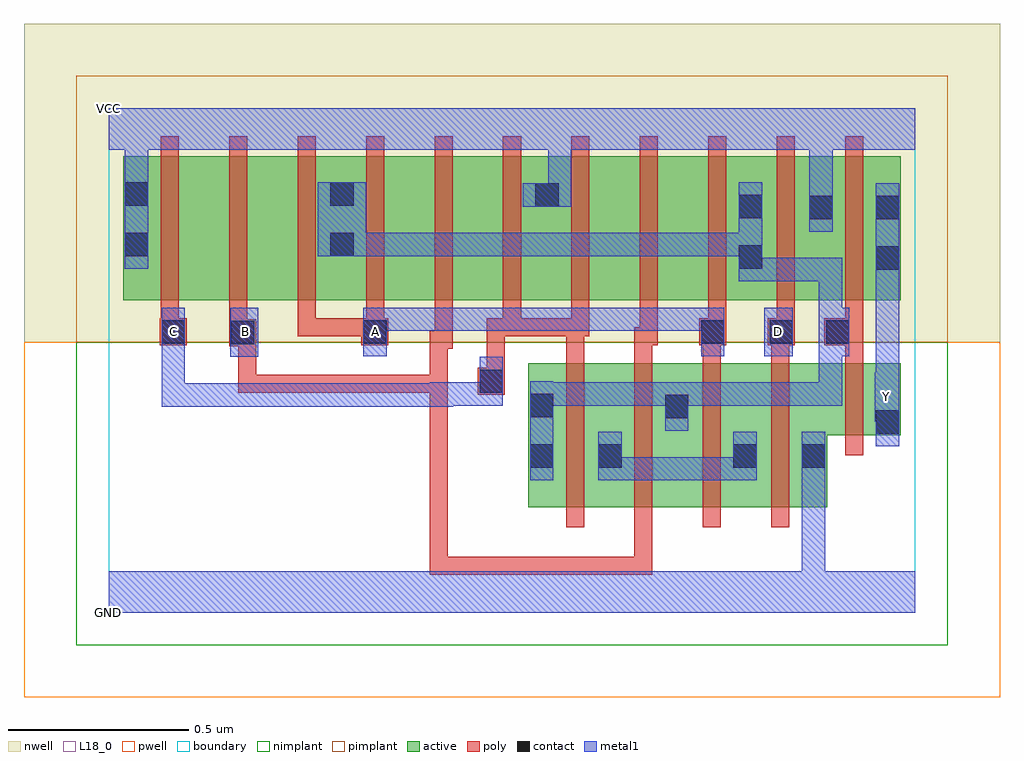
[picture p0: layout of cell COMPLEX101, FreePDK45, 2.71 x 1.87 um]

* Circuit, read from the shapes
.subckt COMPLEX101 A B C D GND VCC Y
M1 n1 C n2 VSUBS nfet w=0.4u l=0.05u
M2 n2 B n1 VSUBS nfet w=0.4u l=0.05u
M3 n1 A n2 VSUBS nfet w=0.4u l=0.05u
M4 GND D n1 VSUBS nfet w=0.4u l=0.05u
M5 Y n2 GND VSUBS nfet w=0.2u l=0.05u
M6 n3 C VCC n4 pfet w=0.4u l=0.05u
M7 n5 B n3 n4 pfet w=0.4u l=0.05u
M8 n2 A n5 n4 pfet w=0.4u l=0.05u
M9 n6 A n2 n4 pfet w=0.4u l=0.05u
M10 n7 B n6 n4 pfet w=0.4u l=0.05u
M11 VCC C n7 n4 pfet w=0.4u l=0.05u
M12 n8 C VCC n4 pfet w=0.4u l=0.05u
M13 n9 B n8 n4 pfet w=0.4u l=0.05u
M14 n2 A n9 n4 pfet w=0.4u l=0.05u
M15 VCC D n2 n4 pfet w=0.4u l=0.05u
M16 Y n2 VCC n4 pfet w=0.4u l=0.05u
.ends

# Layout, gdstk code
import gdstk
lib = gdstk.Library(unit=1e-6, precision=1e-09)
def R(c, l, rs):  # rectangles x0, y0, x1, y1
    for r in rs: c.add(gdstk.rectangle(r[:2], r[2:], *l))
def A(c, l, x, y, w, h, nx, ny, dx, dy):  # array of equal rectangles
    R(c, l, [(x+i*dx, y+j*dy, x+i*dx+w, y+j*dy+h) for i in range(nx) for j in range(ny)])
active = (1, 0)
pwell = (2, 0)
nwell = (3, 0)
nimplant = (4, 0)
pimplant = (5, 0)
poly = (9, 0)
contact = (10, 0)
metal1 = (11, 0)
L18_0 = (18, 0)
boundary = (235, 0)

complex101 = lib.new_cell('COMPLEX101')
A(complex101, active, 0.04, 0.867, 0.225, 0.4, 3, 1, 0.57, 0)
A(complex101, active, 0.265, 0.867, 0.19, 0.4, 3, 1, 0.57, 0)
R(complex101, active, [(1.165,0.292,1.43,0.692), (1.355,0.292,1.615,0.692), (1.54,0.292,1.805,0.692), (1.73,0.292,1.995,0.692), (1.92,0.292,1.995,0.597), (1.165,0.295,1.24,0.692), (1.355,0.295,1.43,0.537), (1.54,0.295,1.615,0.692), (1.73,0.295,1.805,0.597), (1.92,0.492,2.2,0.692), (2.125,0.492,2.2,0.692), (0.04,0.867,0.115,1.267), (0.455,0.867,0.685,1.267), (0.61,0.867,0.685,1.2), (1.025,0.867,1.255,1.267), (1.18,0.867,1.255,1.267), (1.595,0.867,1.82,1.267), (1.745,0.867,1.82,1.2), (1.745,0.867,2.015,1.267), (1.94,0.867,2.2,1.267), (1.94,0.867,2.015,1.267), (2.125,0.867,2.2,1.2)])
R(complex101, pwell, [(-0.235,-0.235,2.475,0.75)])
R(complex101, nwell, [(-0.235,0.75,2.475,1.635)])
R(complex101, nimplant, [(-0.09,-0.09,2.33,0.75)])
R(complex101, pimplant, [(-0.09,0.75,2.33,1.49)])
A(complex101, poly, 1.27, 0.237, 0.05, 0.51, 4, 1, 0.19, 0)
A(complex101, poly, 1.46, 0.697, 0.05, 0.095, 3, 1, 0.19, 0)
A(complex101, poly, 1.665, 0.767, 0.05, 0.095, 3, 1, 0.19, 0)
A(complex101, poly, 0.145, 0.812, 0.05, 0.51, 11, 1, 0.19, 0)
R(complex101, poly, [(0.892,0.105,0.942,0.155), (0.892,0.105,1.087,0.155), (0.892,0.105,0.942,0.66), (1.037,0.105,1.087,0.155), (1.037,0.105,1.087,0.155), (1.037,0.105,1.087,0.155), (1.037,0.105,1.087,0.155), (1.037,0.105,1.087,0.155), (1.037,0.105,1.377,0.155), (1.327,0.105,1.377,0.155), (1.327,0.105,1.377,0.155), (1.327,0.105,1.377,0.155), (1.327,0.105,1.51,0.155), (1.46,0.105,1.51,0.287), (1.46,0.105,1.51,0.155), (1.46,0.105,1.51,0.155), (1.46,0.105,1.51,0.155), (2.045,0.437,2.095,0.747), (1.025,0.605,1.1,0.68), (0.36,0.61,0.41,0.66), (0.36,0.61,0.542,0.66), (0.36,0.61,0.41,0.79), (0.492,0.61,0.542,0.66), (0.492,0.61,0.542,0.66), (0.492,0.61,0.542,0.66), (0.492,0.61,0.675,0.66), (0.625,0.61,0.675,0.66), (0.625,0.61,0.807,0.66), (0.757,0.61,0.807,0.66), (0.757,0.61,0.807,0.66), (0.757,0.61,0.807,0.66), (0.757,0.61,0.942,0.66), (0.892,0.61,0.942,0.66), (0.892,0.61,0.942,0.66), (0.892,0.61,0.942,0.66), (0.892,0.61,0.942,0.782), (1.05,0.63,1.1,0.817), (1.27,0.697,1.32,0.817), (2.045,0.697,2.095,0.792), (0.892,0.732,0.942,0.782), (0.892,0.732,0.942,0.782), (0.892,0.732,0.955,0.782), (0.905,0.732,0.955,0.862), (0.335,0.74,0.41,0.815), (0.36,0.74,0.41,0.79), (0.36,0.74,0.41,0.79), (0.142,0.742,0.217,0.817), (0.702,0.742,0.777,0.817), (1.46,0.742,1.525,0.792), (1.475,0.742,1.525,0.862), (1.64,0.742,1.715,0.817), (1.83,0.742,1.905,0.817), (1.987,0.742,2.095,0.817), (0.335,0.765,0.385,0.862), (0.145,0.767,0.195,0.862), (0.525,0.767,0.575,0.862), (0.525,0.767,0.575,0.817), (0.525,0.767,0.675,0.817), (0.625,0.767,0.675,0.817), (0.625,0.767,0.752,0.817), (0.715,0.767,0.765,0.862), (1.05,0.767,1.115,0.817), (1.065,0.767,1.115,0.817), (1.065,0.767,1.145,0.817), (1.095,0.767,1.145,0.862), (1.095,0.767,1.32,0.817), (1.27,0.767,1.335,0.817), (1.27,0.767,1.32,0.817), (1.27,0.767,1.32,0.817), (1.285,0.767,1.335,0.862)])
R(complex101, contact, [(1.17,0.402,1.235,0.467), (1.36,0.402,1.425,0.467), (1.735,0.402,1.8,0.467), (1.925,0.402,1.99,0.467), (2.13,0.497,2.195,0.562), (1.545,0.54,1.61,0.605), (1.17,0.542,1.235,0.607), (1.03,0.61,1.095,0.675), (0.34,0.745,0.405,0.81), (0.147,0.747,0.212,0.812), (0.707,0.747,0.772,0.812), (1.645,0.747,1.71,0.812), (1.835,0.747,1.9,0.812), (1.992,0.747,2.057,0.812), (2.13,0.952,2.195,1.017), (1.75,0.955,1.815,1.02), (0.045,0.99,0.11,1.055), (0.615,0.99,0.68,1.055), (1.945,1.092,2.01,1.157), (2.13,1.092,2.195,1.157), (1.75,1.095,1.815,1.16), (1.185,1.127,1.25,1.192), (0.045,1.13,0.11,1.195), (0.615,1.13,0.68,1.195)])
R(complex101, metal1, [(0,0,2.24,0.115), (1.925,0.05,1.99,0.432), (1.17,0.367,1.235,0.642), (1.36,0.367,1.425,0.432), (1.36,0.367,1.425,0.432), (1.36,0.367,1.425,0.502), (1.36,0.367,1.662,0.432), (1.597,0.367,1.662,0.432), (1.597,0.367,1.662,0.432), (1.597,0.367,1.662,0.432), (1.597,0.367,1.8,0.432), (1.735,0.367,1.8,0.502), (1.925,0.367,1.99,0.432), (1.925,0.367,1.99,0.432), (1.925,0.367,1.99,0.502), (2.13,0.462,2.195,0.597), (1.545,0.505,1.61,0.64), (2.127,0.532,2.195,0.667), (2.13,0.532,2.195,0.597), (0.147,0.572,0.212,0.637), (0.147,0.572,0.35,0.637), (0.147,0.572,0.212,0.777), (0.285,0.572,0.35,0.637), (0.285,0.572,0.35,0.637), (0.285,0.572,0.35,0.637), (0.285,0.572,0.515,0.637), (0.45,0.572,0.515,0.637), (0.45,0.572,0.515,0.637), (0.45,0.572,0.515,0.637), (0.45,0.572,0.82,0.637), (0.755,0.572,0.82,0.637), (0.755,0.572,0.875,0.637), (0.81,0.572,0.875,0.637), (0.81,0.572,0.957,0.637), (0.892,0.572,0.957,0.64), (0.892,0.575,1.012,0.64), (0.947,0.575,1.012,0.64), (0.947,0.575,1.012,0.64), (0.947,0.575,1.012,0.64), (0.947,0.575,1.095,0.64), (1.03,0.575,1.095,0.71), (1.17,0.575,1.287,0.64), (1.222,0.575,1.287,0.64), (1.222,0.575,1.425,0.64), (1.36,0.575,1.425,0.64), (1.36,0.575,1.425,0.64), (1.36,0.575,1.425,0.64), (1.36,0.575,1.61,0.64), (1.545,0.575,1.61,0.64), (1.545,0.575,1.61,0.64), (1.545,0.575,1.8,0.64), (1.735,0.575,1.8,0.64), (1.735,0.575,1.8,0.64), (1.735,0.575,1.8,0.64), (1.735,0.575,2.037,0.64), (1.972,0.575,2.037,0.64), (1.972,0.575,2.037,0.777), (2.13,0.602,2.195,0.982), (0.337,0.71,0.415,0.847), (0.147,0.712,0.212,0.777), (0.147,0.712,0.212,0.777), (0.147,0.712,0.212,0.847), (0.707,0.712,0.772,0.847), (1.645,0.712,1.71,0.847), (1.82,0.712,1.9,0.847), (1.972,0.712,2.037,0.777), (1.972,0.712,2.057,0.777), (1.972,0.712,2.037,0.985), (1.992,0.712,2.057,0.847), (0.707,0.782,0.875,0.847), (0.81,0.782,0.875,0.847), (0.81,0.782,0.957,0.847), (0.892,0.782,0.957,0.847), (0.892,0.782,1.012,0.847), (0.947,0.782,1.012,0.847), (0.947,0.782,1.095,0.847), (1.03,0.782,1.095,0.847), (1.03,0.782,1.287,0.847), (1.222,0.782,1.287,0.847), (1.222,0.782,1.287,0.847), (1.222,0.782,1.287,0.847), (1.222,0.782,1.425,0.847), (1.36,0.782,1.425,0.847), (1.36,0.782,1.425,0.847), (1.36,0.782,1.425,0.847), (1.36,0.782,1.562,0.847), (1.497,0.782,1.562,0.847), (1.497,0.782,1.71,0.847), (2.13,0.917,2.195,1.192), (1.75,0.92,1.815,1.195), (1.75,0.92,1.815,0.985), (1.75,0.92,1.815,0.985), (1.75,0.92,2.037,0.985), (1.972,0.92,2.037,0.985), (0.045,0.955,0.11,1.23), (0.58,0.99,0.715,1.195), (0.65,0.99,0.715,1.055), (0.65,0.99,0.715,1.055), (0.65,0.99,0.875,1.055), (0.81,0.99,0.875,1.055), (0.81,0.99,0.957,1.055), (0.892,0.99,0.957,1.055), (0.892,0.99,1.012,1.055), (0.947,0.99,1.012,1.055), (0.947,0.99,1.15,1.055), (1.085,0.99,1.15,1.055), (1.085,0.99,1.15,1.055), (1.085,0.99,1.15,1.055), (1.085,0.99,1.287,1.055), (1.222,0.99,1.287,1.055), (1.222,0.99,1.425,1.055), (1.36,0.99,1.425,1.055), (1.36,0.99,1.425,1.055), (1.36,0.99,1.425,1.055), (1.36,0.99,1.662,1.055), (1.597,0.99,1.662,1.055), (1.597,0.99,1.662,1.055), (1.597,0.99,1.662,1.055), (1.597,0.99,1.815,1.055), (1.945,1.057,2.01,1.192), (1.15,1.127,1.285,1.192), (1.22,1.127,1.285,1.35), (1.945,1.127,2.01,1.35), (0.045,1.165,0.11,1.35), (0,1.285,2.24,1.4)])
R(complex101, L18_0, [(0,0,2.24,0.115), (1.925,0.05,1.99,0.432), (1.925,0.367,1.99,0.502), (1.925,0.367,1.99,0.432), (1.925,0.367,1.99,0.432), (2.13,0.462,2.195,0.597), (2.127,0.532,2.195,0.667), (2.13,0.532,2.195,0.597), (2.127,0.567,2.192,0.632), (0.147,0.572,0.212,0.637), (0.147,0.572,0.212,0.777), (0.147,0.572,0.35,0.637), (0.285,0.572,0.35,0.637), (0.285,0.572,0.35,0.637), (0.285,0.572,0.35,0.637), (0.285,0.572,0.515,0.637), (0.45,0.572,0.515,0.637), (0.45,0.572,0.515,0.637), (0.45,0.572,0.515,0.637), (0.45,0.572,0.82,0.637), (0.755,0.572,0.82,0.637), (0.755,0.572,0.875,0.637), (0.81,0.572,0.875,0.637), (0.81,0.572,0.957,0.637), (0.892,0.572,0.957,0.64), (0.892,0.575,1.012,0.64), (0.947,0.575,1.012,0.64), (0.947,0.575,1.012,0.64), (0.947,0.575,1.012,0.64), (0.947,0.575,1.095,0.64), (1.03,0.575,1.095,0.71), (2.13,0.602,2.195,0.982), (0.337,0.71,0.415,0.847), (0.147,0.712,0.212,0.847), (0.147,0.712,0.212,0.777), (0.147,0.712,0.212,0.777), (0.707,0.712,0.772,0.847), (1.645,0.712,1.71,0.847), (1.82,0.712,1.9,0.847), (0.147,0.747,0.212,0.812), (0.347,0.747,0.412,0.812), (0.707,0.747,0.772,0.812), (1.827,0.747,1.892,0.812), (0.707,0.782,0.875,0.847), (0.81,0.782,0.875,0.847), (0.81,0.782,0.957,0.847), (0.892,0.782,0.957,0.847), (0.892,0.782,1.012,0.847), (0.947,0.782,1.012,0.847), (0.947,0.782,1.095,0.847), (1.03,0.782,1.095,0.847), (1.03,0.782,1.287,0.847), (1.222,0.782,1.287,0.847), (1.222,0.782,1.287,0.847), (1.222,0.782,1.287,0.847), (1.222,0.782,1.425,0.847), (1.36,0.782,1.425,0.847), (1.36,0.782,1.425,0.847), (1.36,0.782,1.425,0.847), (1.36,0.782,1.562,0.847), (1.497,0.782,1.562,0.847), (1.497,0.782,1.71,0.847), (2.13,0.917,2.195,1.192), (0.045,0.955,0.11,1.23), (1.945,1.057,2.01,1.192), (1.15,1.127,1.285,1.192), (1.22,1.127,1.285,1.35), (1.945,1.127,2.01,1.35), (0.045,1.165,0.11,1.35), (0,1.285,2.24,1.4)])
R(complex101, boundary, [(0,0,2.24,1.4)])
complex101.add(gdstk.Label('A', (0.74,0.78), layer=11, texttype=0))
complex101.add(gdstk.Label('B', (0.38,0.78), layer=11, texttype=0))
complex101.add(gdstk.Label('C', (0.18,0.78), layer=11, texttype=0))
complex101.add(gdstk.Label('D', (1.86,0.78), layer=11, texttype=0))
complex101.add(gdstk.Label('Y', (2.16,0.6), layer=11, texttype=0))
complex101.add(gdstk.Label('VCC', (0,1.4), layer=11, texttype=0))
complex101.add(gdstk.Label('GND', (0,0), layer=11, texttype=0))

lib.write_gds('COMPLEX101.gds')
